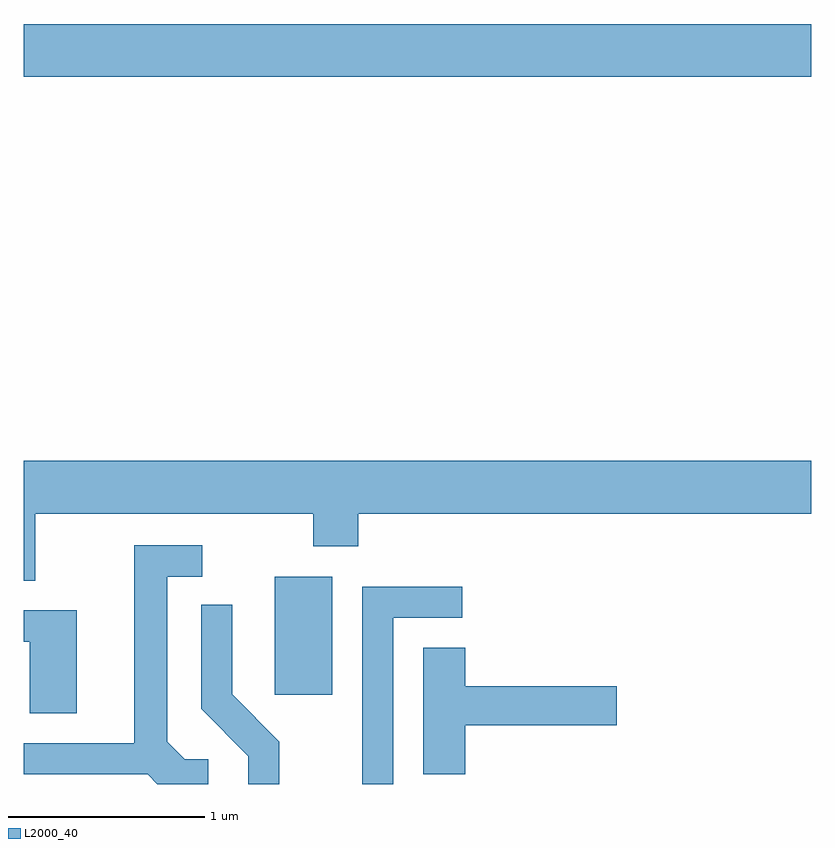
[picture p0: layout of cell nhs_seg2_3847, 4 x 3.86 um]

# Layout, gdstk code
import gdstk
lib = gdstk.Library(unit=1e-6, precision=1e-09)
def R(c, l, rs):  # rectangles x0, y0, x1, y1
    for r in rs: c.add(gdstk.rectangle(r[:2], r[2:], *l))
def P(c, l, *ps):  # polygons
    for p in ps: c.add(gdstk.Polygon(p, *l))
L2000_40 = (2000, 40)

nhs_seg2_3847 = lib.new_cell('nhs_seg2_3847')
R(nhs_seg2_3847, L2000_40, [(298.886,1076.256,299.179,1076.854), (297.611,1079.396,301.611,1079.664)])
P(nhs_seg2_3847, L2000_40, [(297.669,1077.176),(299.081,1077.176),(299.081,1077.011),(299.309,1077.011),(299.309,1077.176),(301.611,1077.176),(301.611,1077.444),(297.611,1077.444),(297.611,1076.836),(297.669,1076.836)],
  [(298.548,1075.929),(298.427,1075.929),(298.339,1076.017),(298.339,1076.856),(298.518,1076.856),(298.518,1077.014),(298.171,1077.014),(298.171,1076.009),(297.611,1076.009),(297.611,1075.851),(298.239,1075.851),(298.288,1075.802),(298.548,1075.802)],
  [(299.489,1076.646),(299.838,1076.646),(299.838,1076.804),(299.331,1076.804),(299.331,1075.802),(299.489,1075.802)],
  [(298.909,1076.017),(298.669,1076.257),(298.669,1076.713),(298.511,1076.713),(298.511,1076.184),(298.751,1075.944),(298.751,1075.802),(298.909,1075.802)],
  [(297.879,1076.684),(297.611,1076.684),(297.611,1076.526),(297.641,1076.526),(297.641,1076.161),(297.879,1076.161)],
  [(299.854,1076.101),(300.624,1076.101),(300.624,1076.299),(299.854,1076.299),(299.854,1076.494),(299.641,1076.494),(299.641,1075.851),(299.854,1075.851)])

lib.write_gds('nhs_seg2_3847.gds')
